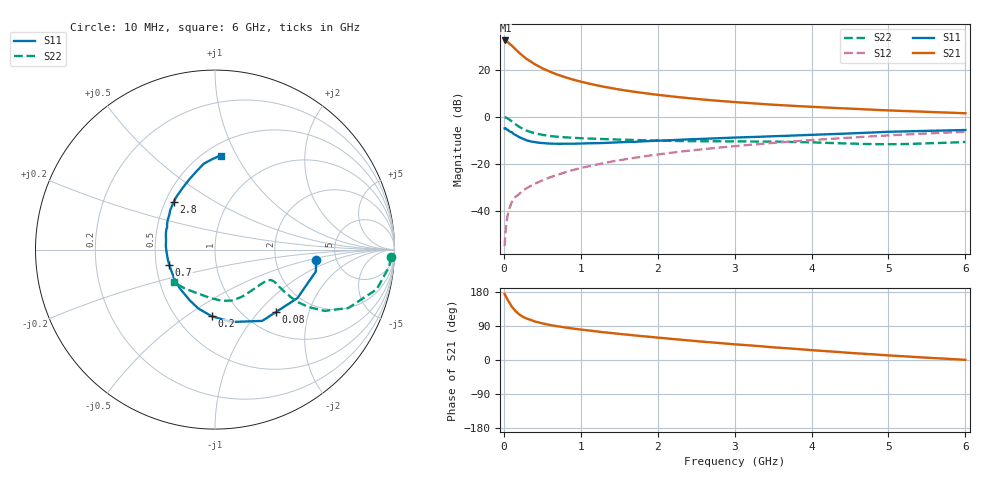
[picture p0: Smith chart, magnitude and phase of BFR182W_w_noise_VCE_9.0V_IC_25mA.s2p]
! (c) 2017  Infineon Technologies AG, Munich
! Infineon Technologies  Discrete & RF Semiconductors
! BFR182W
! VCE =  9.0 V,  IC =  25 mA
! Common Emitter S-Parameters:  Jan 2017
# GHz  S  MA  R  50
!  f  S11  S21  S12  S22
! GHz  MAG  ANG  MAG  ANG  MAG  ANG  MAG  ANG
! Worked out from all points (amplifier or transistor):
!   77 points, 10 MHz to 6 GHz, reference 50 ohm
!   highest |S21| = 32.4 dB at 20 MHz (marker M1)
!   |S21| within 3 dB of that: start of sweep to 128.9 MHz
!   unconditionally stable (mu >= 1): 785.4 MHz to 2.31 GHz
!   at 130 MHz: K = 0.46, MSG = 32.1 dB, |S12| = -34.9 dB
!   at 2.2 GHz: K = 1.01, MAG = 11.3 dB, |S12| = -15.2 dB
!   at 6 GHz: K = 0.86, MSG = 3.9 dB, |S12| = -6.3 dB
!   lowest NFmin = 1.56 dB at 450 MHz
!   S11 on the Smith chart (normalised r, x): 10 MHz: 3.50, -0.61; 80 MHz: 1.38, -1.25; 200 MHz: 0.73, -0.63; 700 MHz: 0.59, -0.11; 2.8 GHz: 0.55, +0.34; 6 GHz: 0.60, +0.86
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0.01  0.5665 -6.0  41.69 174.4  0.0018 90.1  0.9809 -2.5
0.02  0.5748 -12.3  41.8 170.5  0.0033 92.5  0.9746 -5.7
0.05  0.5329 -30.5  38.83 158.4  0.0082 76.5  0.9277 -13.8
0.08  0.4865 -45.4  34.96 148.9  0.0123 72.3  0.8544 -19.4
0.1  0.4764 -56.5  33.02 141.4  0.015 70.8  0.8108 -23.7
0.15  0.4139 -76.9  27.38 129.2  0.02 66.0  0.6992 -29.2
0.2  0.3716 -92.9  22.85 120.3  0.023 66.5  0.6144 -31.5
0.25  0.3409 -105.8  19.44 113.7  0.0274 65.4  0.5528 -32.3
0.3  0.3159 -116.4  16.75 109.0  0.0308 66.0  0.5069 -32.2
0.4  0.2917 -132.3  13.13 101.7  0.0379 68.3  0.4495 -31.2
0.5  0.278 -144.6  10.72 96.6  0.0446 68.8  0.415 -30.1
0.6  0.2706 -154.3  9.072 92.4  0.052 70.2  0.3928 -29.2
0.7  0.2684 -161.8  7.839 89.0  0.0589 71.9  0.3781 -28.5
0.9  0.2689 -174.0  6.168 83.0  0.0744 71.6  0.3592 -28.5
1.1  0.2748 175.9  5.112 78.0  0.0892 72.2  0.3472 -29.3
1.5  0.2884 161.4  3.81 69.0  0.12 70.8  0.3293 -33.0
2.1  0.316 144.9  2.811 57.3  0.1667 67.6  0.3111 -42.8
2.8  0.3524 130.6  2.181 44.8  0.2226 62.7  0.3028 -57.5
3.1  0.3676 124.8  2.006 40.0  0.2467 60.4  0.3006 -63.7
4.1  0.4208 109.1  1.603 24.6  0.3292 51.9  0.284 -84.3
5.1  0.486 96.4  1.35 10.9  0.4112 42.4  0.263 -114.5
6  0.5251 86.6  1.192 0.4  0.4815 33.4  0.2934 -141.9
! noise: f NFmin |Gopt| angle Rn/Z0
0.45  1.56  0.16  -169  0.15
0.9  1.65  0.17  -163  0.16
1.9  2.18  0.33  -138  0.18
2.4  2.46  0.34  -127  0.29
